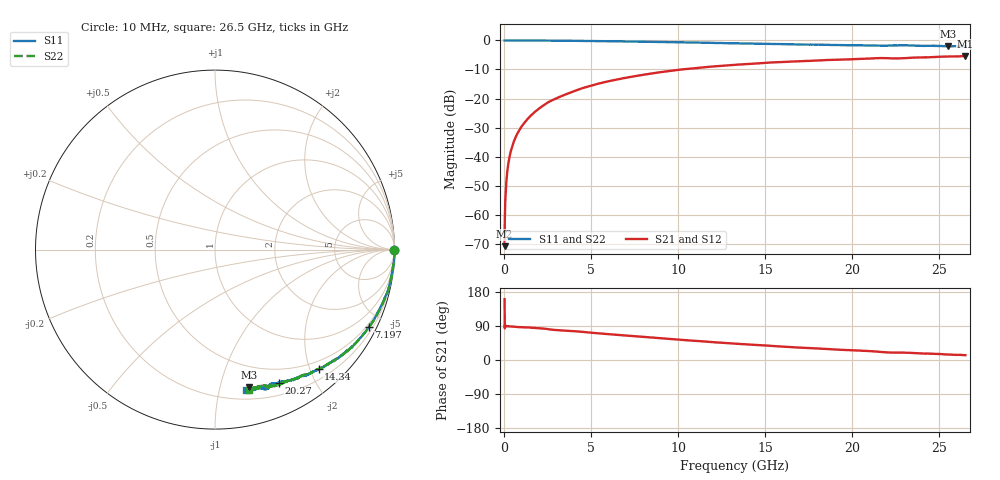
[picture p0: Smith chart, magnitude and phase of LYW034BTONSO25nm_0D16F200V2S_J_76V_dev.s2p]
!Keysight Technologies,N5222B,MY61253708,A.15.00.15
!Date: Wednesday, June 19, 2024 09:22:33
!Correction: S11(C  2-Port  )
!S21(C  2-Port  )
!S12(C  2-Port  )
!S22(C  2-Port  )
!S2P File: Measurements: S11, S21, S12, S22:
# Hz S  RI  R 50
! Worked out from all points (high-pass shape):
!   2651 points, 10 MHz to 26.5 GHz, reference 50 ohm
!   highest |S21| = -5.36 dB at 26.5 GHz (marker M1); lowest = -70.9 dB at 10 MHz (marker M2)
!   |S21| within 3 dB of the highest: 13.3 GHz to end of sweep
!   lowest |S11| = -2.0 dB at 25.5 GHz (marker M3), VSWR 8.53, Z = 15.1 - j61.8 ohm
!   |S11| at or under -10 dB: nowhere
!   |S22| runs from -2.0 to 0.0 dB; largest |S21 - S12| = 0.0069
!   S11 on the Smith chart (normalised r, x): 10 MHz: open; 7.197 GHz: 0.38, -4.17; 14.34 GHz: 0.36, -2.14; 20.27 GHz: 0.33, -1.54; 26.5 GHz: 0.28, -1.21
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1e7  0.9989 -0.00244  -0.00027 9.55e-05  -0.000151 0.000172  0.9986 -0.00143
1.599434e8  0.9998 -0.0116  5.39e-05 0.00537  6.28e-05 0.00543  0.9996 -0.0108
1.999283e8  0.9999 -0.0139  7.64e-05 0.00676  0.000128 0.0068  0.9996 -0.0132
2.499094e8  0.9994 -0.0176  0.000153 0.0084  0.000153 0.00846  0.9993 -0.0167
3.498717e8  0.9994 -0.0243  0.000307 0.0118  0.000293 0.0119  0.9994 -0.0234
4.698264e8  0.9989 -0.0327  0.000483 0.0158  0.0005 0.0159  0.9984 -0.0315
6.29766e8  0.9987 -0.043  0.000926 0.0212  0.000937 0.0213  0.9984 -0.0419
8.196943e8  0.9978 -0.0559  0.00148 0.0274  0.00146 0.0276  0.9975 -0.0545
1.099589e9  0.997 -0.0757  0.00238 0.0365  0.00244 0.0369  0.9955 -0.0735
1.449457e9  0.9902 -0.0992  0.00365 0.0487  0.00371 0.0489  0.9925 -0.0951
2.329125e9  0.9809 -0.154  0.0103 0.0789  0.0106 0.0794  0.9823 -0.1539
3.138819e9  0.9697 -0.2064  0.021 0.1035  0.0213 0.1042  0.9709 -0.2044
4.428332e9  0.9403 -0.2843  0.0398 0.1436  0.0403 0.1445  0.9423 -0.2807
7.197287e9  0.8575 -0.4322  0.1031 0.2099  0.1046 0.2106  0.8596 -0.4301
8.846664e9  0.7966 -0.5064  0.1487 0.2384  0.1504 0.2391  0.7992 -0.5036
1.3255e10  0.6181 -0.6444  0.2772 0.2608  0.2798 0.2605  0.6236 -0.6421
1.434459e10  0.5769 -0.667  0.3049 0.2576  0.3076 0.2568  0.5819 -0.6634
1.767333e10  0.4447 -0.7206  0.383 0.231  0.3867 0.2292  0.4576 -0.718
2.027235e10  0.3568 -0.7443  0.4335 0.2031  0.4363 0.2001  0.3767 -0.745
2.209166e10  0.3102 -0.7506  0.4645 0.1679  0.4665 0.1646  0.3065 -0.7575
2.550038e10  0.1921 -0.7665  0.5125 0.1305  0.5141 0.1301  0.2146 -0.771
2.65e10  0.1732 -0.7811  0.5259 0.1195  0.5254 0.1154  0.1881 -0.7808
